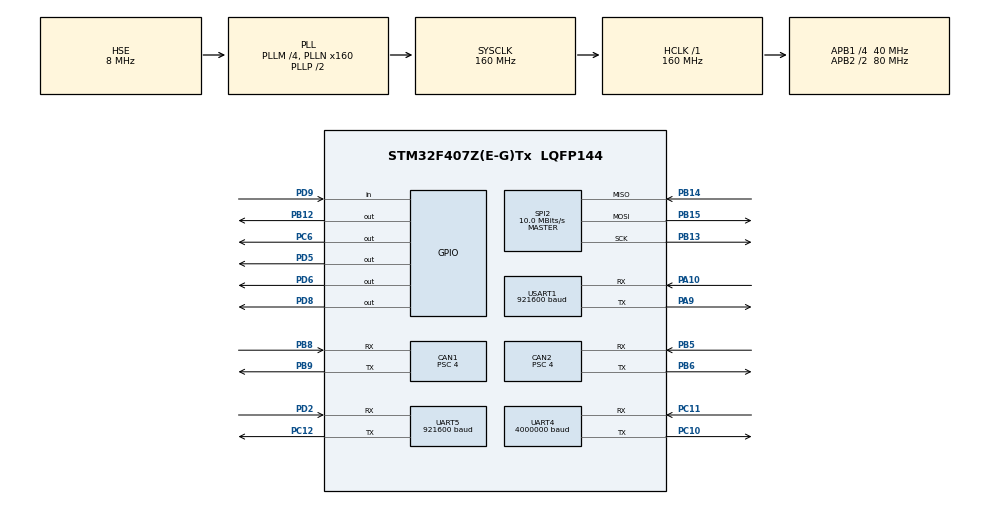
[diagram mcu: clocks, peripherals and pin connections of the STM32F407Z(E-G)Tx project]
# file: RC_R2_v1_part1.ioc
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CAN1.ABOM=ENABLE
CAN1.AWUM=ENABLE
CAN1.BS1=CAN_BS1_6TQ
CAN1.BS2=CAN_BS2_3TQ
CAN1.CalculateBaudRate=1000000
CAN1.CalculateTimeBit=1000
CAN1.CalculateTimeQuantum=100.0
CAN1.NART=ENABLE
CAN1.Prescaler=4
CAN1.TXFP=ENABLE
CAN2.ABOM=ENABLE
CAN2.AWUM=ENABLE
CAN2.BS1=CAN_BS1_6TQ
CAN2.BS2=CAN_BS2_3TQ
CAN2.CalculateBaudRate=1000000
CAN2.CalculateTimeBit=1000
CAN2.CalculateTimeQuantum=100.0
CAN2.NART=ENABLE
CAN2.Prescaler=4
CAN2.TXFP=ENABLE
Dma.Request0=USART1_RX
Dma.Request1=USART1_TX
Dma.Request2=UART4_RX
Dma.Request3=UART4_TX
Dma.Request4=UART5_RX
Dma.Request5=UART5_TX
Dma.UART4_RX.2.Direction=DMA_PERIPH_TO_MEMORY
Dma.UART4_RX.2.FIFOMode=DMA_FIFOMODE_DISABLE
Dma.UART4_RX.2.Instance=DMA1_Stream2
Dma.UART4_RX.2.MemDataAlignment=DMA_MDATAALIGN_BYTE
Dma.UART4_RX.2.MemInc=DMA_MINC_ENABLE
Dma.UART4_RX.2.Mode=DMA_NORMAL
Dma.UART4_RX.2.PeriphDataAlignment=DMA_PDATAALIGN_BYTE
Dma.UART4_RX.2.PeriphInc=DMA_PINC_DISABLE
Dma.UART4_RX.2.Priority=DMA_PRIORITY_LOW
Dma.UART4_TX.3.Direction=DMA_MEMORY_TO_PERIPH
Dma.UART4_TX.3.FIFOMode=DMA_FIFOMODE_DISABLE
Dma.UART4_TX.3.Instance=DMA1_Stream4
Dma.UART4_TX.3.MemDataAlignment=DMA_MDATAALIGN_BYTE
Dma.UART4_TX.3.MemInc=DMA_MINC_ENABLE
Dma.UART4_TX.3.Mode=DMA_NORMAL
Dma.UART4_TX.3.PeriphDataAlignment=DMA_PDATAALIGN_BYTE
Dma.UART4_TX.3.PeriphInc=DMA_PINC_DISABLE
Dma.UART4_TX.3.Priority=DMA_PRIORITY_LOW
Dma.UART5_RX.4.Direction=DMA_PERIPH_TO_MEMORY
Dma.UART5_RX.4.FIFOMode=DMA_FIFOMODE_DISABLE
Dma.UART5_RX.4.Instance=DMA1_Stream0
Dma.UART5_RX.4.MemDataAlignment=DMA_MDATAALIGN_BYTE
Dma.UART5_RX.4.MemInc=DMA_MINC_ENABLE
Dma.UART5_RX.4.Mode=DMA_NORMAL
Dma.UART5_RX.4.PeriphDataAlignment=DMA_PDATAALIGN_BYTE
Dma.UART5_RX.4.PeriphInc=DMA_PINC_DISABLE
Dma.UART5_RX.4.Priority=DMA_PRIORITY_LOW
Dma.UART5_TX.5.Direction=DMA_MEMORY_TO_PERIPH
Dma.UART5_TX.5.FIFOMode=DMA_FIFOMODE_DISABLE
Dma.UART5_TX.5.Instance=DMA1_Stream7
Dma.UART5_TX.5.MemDataAlignment=DMA_MDATAALIGN_BYTE
Dma.UART5_TX.5.MemInc=DMA_MINC_ENABLE
Dma.UART5_TX.5.Mode=DMA_NORMAL
Dma.UART5_TX.5.PeriphDataAlignment=DMA_PDATAALIGN_BYTE
Dma.UART5_TX.5.PeriphInc=DMA_PINC_DISABLE
Dma.UART5_TX.5.Priority=DMA_PRIORITY_LOW
Dma.USART1_RX.0.Direction=DMA_PERIPH_TO_MEMORY
Dma.USART1_RX.0.FIFOMode=DMA_FIFOMODE_DISABLE
Dma.USART1_RX.0.Instance=DMA2_Stream2
Dma.USART1_RX.0.MemDataAlignment=DMA_MDATAALIGN_BYTE
Dma.USART1_RX.0.MemInc=DMA_MINC_ENABLE
Dma.USART1_RX.0.Mode=DMA_NORMAL
Dma.USART1_RX.0.PeriphDataAlignment=DMA_PDATAALIGN_BYTE
Dma.USART1_RX.0.PeriphInc=DMA_PINC_DISABLE
Dma.USART1_RX.0.Priority=DMA_PRIORITY_LOW
Dma.USART1_TX.1.Direction=DMA_MEMORY_TO_PERIPH
Dma.USART1_TX.1.FIFOMode=DMA_FIFOMODE_DISABLE
Dma.USART1_TX.1.Instance=DMA2_Stream7
Dma.USART1_TX.1.MemDataAlignment=DMA_MDATAALIGN_BYTE
Dma.USART1_TX.1.MemInc=DMA_MINC_ENABLE
Dma.USART1_TX.1.Mode=DMA_NORMAL
Dma.USART1_TX.1.PeriphDataAlignment=DMA_PDATAALIGN_BYTE
Dma.USART1_TX.1.PeriphInc=DMA_PINC_DISABLE
Dma.USART1_TX.1.Priority=DMA_PRIORITY_LOW
FREERTOS.Tasks01=Task1,24,1024,TASK1,Default,NULL,Dynamic,NULL,NULL;Task2,24,1024,TASK2,Default,NULL,Dynamic,NULL,NULL;Task3,24,256,TASK3,Default,NULL,Dynamic,NULL,NULL;Task4,24,256,TASK4,Default,NULL,Dynamic,NULL,NULL;Task5,24,256,TASK5,Default,NULL,Dynamic,NULL,NULL;Task6,24,256,TASK6,Default,NULL,Dynamic,NULL,NULL
Mcu.Family=STM32F4
Mcu.Name=STM32F407Z(E-G)Tx
Mcu.Package=LQFP144
NVIC.CAN1_RX0_IRQn=true\:5\:0\:false\:false\:true\:true\:true\:true\:true
NVIC.CAN2_RX0_IRQn=true\:5\:0\:false\:false\:true\:true\:true\:true\:true
NVIC.DMA1_Stream0_IRQn=true\:5\:0\:false\:false\:true\:true\:false\:true\:true
NVIC.DMA1_Stream2_IRQn=true\:5\:0\:false\:false\:true\:true\:false\:true\:true
NVIC.DMA1_Stream4_IRQn=true\:5\:0\:false\:false\:true\:true\:false\:true\:true
NVIC.DMA1_Stream7_IRQn=true\:5\:0\:false\:false\:true\:true\:false\:true\:true
NVIC.DMA2_Stream2_IRQn=true\:5\:0\:false\:false\:true\:true\:false\:true\:true
NVIC.DMA2_Stream7_IRQn=true\:5\:0\:false\:false\:true\:true\:false\:true\:true
NVIC.PriorityGroup=NVIC_PRIORITYGROUP_4
NVIC.SPI2_IRQn=true\:5\:0\:false\:false\:true\:true\:true\:true\:true
NVIC.TIM2_IRQn=true\:5\:0\:false\:false\:true\:true\:true\:true\:true
NVIC.TIM6_DAC_IRQn=true\:15\:0\:false\:false\:true\:false\:false\:true\:true
NVIC.TimeBase=TIM6_DAC_IRQn
NVIC.TimeBaseIP=TIM6
NVIC.UART4_IRQn=true\:5\:0\:false\:false\:true\:true\:true\:true\:true
NVIC.UART5_IRQn=true\:5\:0\:false\:false\:true\:true\:true\:true\:true
NVIC.USART1_IRQn=true\:5\:0\:false\:false\:true\:true\:true\:true\:true
PA10.GPIO_PuPd=GPIO_PULLUP
PA10.Mode=Asynchronous
PA10.Signal=USART1_RX
PA13.Mode=Serial_Wire
PA13.Signal=SYS_JTMS-SWDIO
PA14.Mode=Serial_Wire
PA14.Signal=SYS_JTCK-SWCLK
PA9.GPIO_PuPd=GPIO_PULLUP
PA9.Mode=Asynchronous
PA9.Signal=USART1_TX
PB12.GPIO_Speed=GPIO_SPEED_FREQ_VERY_HIGH
PB12.PinState=GPIO_PIN_SET
PB12.Signal=GPIO_Output
PB13.Mode=Full_Duplex_Master
PB13.Signal=SPI2_SCK
PB14.Mode=Full_Duplex_Master
PB14.Signal=SPI2_MISO
PB15.Mode=Full_Duplex_Master
PB15.Signal=SPI2_MOSI
PB5.GPIO_PuPd=GPIO_PULLUP
PB5.Mode=CAN_Activate
PB5.Signal=CAN2_RX
PB6.GPIO_PuPd=GPIO_PULLUP
PB6.Mode=CAN_Activate
PB6.Signal=CAN2_TX
PB8.GPIO_PuPd=GPIO_PULLUP
PB8.Mode=CAN_Activate
PB8.Signal=CAN1_RX
PB9.GPIO_PuPd=GPIO_PULLUP
PB9.Mode=CAN_Activate
PB9.Signal=CAN1_TX
PC10.GPIO_PuPd=GPIO_PULLUP
PC10.Mode=Asynchronous
PC10.Signal=UART4_TX
PC11.GPIO_PuPd=GPIO_PULLUP
PC11.Mode=Asynchronous
PC11.Signal=UART4_RX
PC12.GPIO_PuPd=GPIO_PULLUP
PC12.Mode=Asynchronous
PC12.Signal=UART5_TX
PC14-OSC32_IN.Mode=LSE-External-Oscillator
PC14-OSC32_IN.Signal=RCC_OSC32_IN
PC15-OSC32_OUT.Mode=LSE-External-Oscillator
PC15-OSC32_OUT.Signal=RCC_OSC32_OUT
PC6.GPIO_Speed=GPIO_SPEED_FREQ_LOW
PC6.Signal=GPIO_Output
PD2.GPIO_PuPd=GPIO_PULLUP
PD2.Mode=Asynchronous
PD2.Signal=UART5_RX
PD5.GPIO_PuPd=GPIO_NOPULL
PD5.GPIO_Speed=GPIO_SPEED_FREQ_VERY_HIGH
PD5.PinState=GPIO_PIN_RESET
PD5.Signal=GPIO_Output
PD6.GPIO_Speed=GPIO_SPEED_FREQ_VERY_HIGH
PD6.Signal=GPIO_Output
PD8.GPIO_Speed=GPIO_SPEED_FREQ_VERY_HIGH
PD8.Signal=GPIO_Output
PD9.GPIO_PuPd=GPIO_PULLUP
PD9.Signal=GPIO_Input
PH0-OSC_IN.Mode=HSE-External-Oscillator
PH0-OSC_IN.Signal=RCC_OSC_IN
PH1-OSC_OUT.Mode=HSE-External-Oscillator
PH1-OSC_OUT.Signal=RCC_OSC_OUT
ProjectManager.HeapSize=0x200
ProjectManager.StackSize=0x400
ProjectManager.TargetToolchain=MDK-ARM V5.32
RCC.48MHZClocksFreq_Value=80000000
RCC.AHBFreq_Value=160000000
RCC.APB1CLKDivider=RCC_HCLK_DIV4
RCC.APB1Freq_Value=40000000
RCC.APB1TimFreq_Value=80000000
RCC.APB2CLKDivider=RCC_HCLK_DIV2
RCC.APB2Freq_Value=80000000
RCC.APB2TimFreq_Value=160000000
RCC.CortexFreq_Value=160000000
RCC.HCLKFreq_Value=160000000
RCC.HSE_VALUE=8000000
RCC.HSI_VALUE=16000000
RCC.PLLM=4
RCC.PLLN=160
RCC.PLLSourceVirtual=RCC_PLLSOURCE_HSE
RCC.SYSCLKFreq_VALUE=160000000
RCC.SYSCLKSource=RCC_SYSCLKSOURCE_PLLCLK
RCC.VCOOutputFreq_Value=320000000
SPI2.BaudRatePrescaler=SPI_BAUDRATEPRESCALER_4
SPI2.CalculateBaudRate=10.0 MBits/s
SPI2.Direction=SPI_DIRECTION_2LINES
SPI2.Mode=SPI_MODE_MASTER
SPI2.VirtualType=VM_MASTER
TIM2.AutoReloadPreload=TIM_AUTORELOAD_PRELOAD_ENABLE
TIM2.Period=999
TIM2.Prescaler=79
UART4.BaudRate=4000000
UART4.OverSampling=UART_OVERSAMPLING_8
UART4.VirtualMode=Asynchronous
UART5.BaudRate=921600
UART5.VirtualMode=Asynchronous
USART1.BaudRate=921600
USART1.VirtualMode=VM_ASYNC
VP_FREERTOS_VS_CMSIS_V2.Mode=CMSIS_V2
VP_SYS_VS_tim6.Mode=TIM6
VP_TIM2_VS_ClockSourceINT.Mode=Internal
board=custom

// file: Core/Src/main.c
/* USER CODE BEGIN Header */
/**
 ******************************************************************************
 * @file           : main.c
 * @brief          : Main program body
 ******************************************************************************
 * @attention
 *
 * Copyright (c) 2025 STMicroelectronics.
 * All rights reserved.
 *
 * This software is licensed under terms that can be found in the LICENSE file
 * in the root directory of this software component.
 * If no LICENSE file comes with this software, it is provided AS-IS.
 *
 ******************************************************************************
 */
/* USER CODE END Header */
#include "main.h"
#include "cmsis_os.h"
#include "can.h"
#include "dma.h"
#include "spi.h"
#include "tim.h"
#include "usart.h"
#include "gpio.h"

/* USER CODE BEGIN Includes */
#include "can_bsp.h"
#include "global_declare.h"
#include "algorithm.h"
#include "auto_path.h"
/* USER CODE END Includes */

void SystemClock_Config(void);
void MX_FREERTOS_Init(void);

int main(void)
{

  /* MCU Configuration--------------------------------------------------------*/

  /* Reset of all peripherals, Initializes the Flash interface and the Systick. */
  HAL_Init();

  /* Configure the system clock */
  SystemClock_Config();

  /* Initialize all configured peripherals */
  MX_GPIO_Init();
  MX_DMA_Init();
  MX_SPI2_Init();
  MX_USART1_UART_Init();
  MX_CAN1_Init();
  MX_CAN2_Init();
  MX_TIM2_Init();
  MX_UART4_Init();
  MX_UART5_Init();
  /* USER CODE BEGIN 2 */
  // __HAL_UART_ENABLE_IT(&huart1, UART_IT_IDLE);
  // HAL_UART_Receive_DMA(&huart1, down_rx, 17);
  __HAL_UART_ENABLE_IT(&huart5, UART_IT_IDLE);
  HAL_UART_Receive_DMA(&huart5, vision_rec, 34);
  HAL_UART_Receive_DMA(&huart4, (uint8_t *)&uart_rx_data, sizeof(RIS_MotorData_t));

  HAL_TIM_Base_Start_IT(&htim2);

  can1_start();
  can2_start();

  J60_MOTOR_ENABLE(&hcan1, &j60_motor_cmd_down1);
  J60_MOTOR_ENABLE(&hcan2, &j60_motor_cmd_down2);

  // SET_NAV_PATH_PERMUTATION();
  /* USER CODE END 2 */

  /* Init scheduler */
  osKernelInitialize();  /* Call init function for freertos objects (in cmsis_os2.c) */
  MX_FREERTOS_Init();

  /* Start scheduler */
  osKernelStart();

  /* We should never get here as control is now taken by the scheduler */

  /* Infinite loop */
  while (1)
  {

  }
}

void SystemClock_Config(void)
{
  RCC_OscInitTypeDef RCC_OscInitStruct = {0};
  RCC_ClkInitTypeDef RCC_ClkInitStruct = {0};

  /** Configure the main internal regulator output voltage
  */
  __HAL_RCC_PWR_CLK_ENABLE();
  __HAL_PWR_VOLTAGESCALING_CONFIG(PWR_REGULATOR_VOLTAGE_SCALE1);

  /** Initializes the RCC Oscillators according to the specified parameters
  * in the RCC_OscInitTypeDef structure.
  */
  RCC_OscInitStruct.OscillatorType = RCC_OSCILLATORTYPE_HSE;
  RCC_OscInitStruct.HSEState = RCC_HSE_ON;
  RCC_OscInitStruct.PLL.PLLState = RCC_PLL_ON;
  RCC_OscInitStruct.PLL.PLLSource = RCC_PLLSOURCE_HSE;
  RCC_OscInitStruct.PLL.PLLM = 4;
  RCC_OscInitStruct.PLL.PLLN = 160;
  RCC_OscInitStruct.PLL.PLLP = RCC_PLLP_DIV2;
  RCC_OscInitStruct.PLL.PLLQ = 4;
  if (HAL_RCC_OscConfig(&RCC_OscInitStruct) != HAL_OK)
  {
    Error_Handler();
  }

  /** Initializes the CPU, AHB and APB buses clocks
  */
  RCC_ClkInitStruct.ClockType = RCC_CLOCKTYPE_HCLK|RCC_CLOCKTYPE_SYSCLK
                              |RCC_CLOCKTYPE_PCLK1|RCC_CLOCKTYPE_PCLK2;
  RCC_ClkInitStruct.SYSCLKSource = RCC_SYSCLKSOURCE_PLLCLK;
  RCC_ClkInitStruct.AHBCLKDivider = RCC_SYSCLK_DIV1;
  RCC_ClkInitStruct.APB1CLKDivider = RCC_HCLK_DIV4;
  RCC_ClkInitStruct.APB2CLKDivider = RCC_HCLK_DIV2;

  if (HAL_RCC_ClockConfig(&RCC_ClkInitStruct, FLASH_LATENCY_5) != HAL_OK)
  {
    Error_Handler();
  }
}

void HAL_TIM_PeriodElapsedCallback(TIM_HandleTypeDef *htim)
{
  if (htim->Instance == TIM6)
  {
    HAL_IncTick();
  }
}

void Error_Handler(void)
{
  __disable_irq();
  while (1)
  {
  }
}

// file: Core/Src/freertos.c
/* USER CODE BEGIN Header */
/**
 ******************************************************************************
 * File Name          : freertos.c
 * Description        : Code for freertos applications
 ******************************************************************************
 * @attention
 *
 * Copyright (c) 2025 STMicroelectronics.
 * All rights reserved.
 *
 * This software is licensed under terms that can be found in the LICENSE file
 * in the root directory of this software component.
 * If no LICENSE file comes with this software, it is provided AS-IS.
 *
 ******************************************************************************
 */
/* USER CODE END Header */

#include "FreeRTOS.h"
#include "task.h"
#include "main.h"
#include "cmsis_os.h"

/* USER CODE BEGIN Includes */
#include "global_declare.h"
#include "motor_dji_sdk.h"
#include "j60_sdk.h"
#include "go1_sdk.h"
#include "NRF24L01.h"
#include "navigate.h"
#include "chassis.h"
#include "foot.h"
#include "action.h"
/* USER CODE END Includes */

/* USER CODE BEGIN Variables */
extern UART_HandleTypeDef huart1, huart4;
float n=0, input=0;;

/* USER CODE END Variables */
/* Definitions for Task1 */
osThreadId_t Task1Handle;
const osThreadAttr_t Task1_attributes = {
    .name = "Task1",
    .stack_size = 1024 * 4,
    .priority = (osPriority_t)osPriorityNormal,
};
/* Definitions for Task2 */
osThreadId_t Task2Handle;
const osThreadAttr_t Task2_attributes = {
    .name = "Task2",
    .stack_size = 1024 * 4,
    .priority = (osPriority_t)osPriorityNormal,
};
/* Definitions for Task3 */
osThreadId_t Task3Handle;
const osThreadAttr_t Task3_attributes = {
    .name = "Task3",
    .stack_size = 256 * 4,
    .priority = (osPriority_t)osPriorityNormal,
};
/* Definitions for Task4 */
osThreadId_t Task4Handle;
const osThreadAttr_t Task4_attributes = {
    .name = "Task4",
    .stack_size = 256 * 4,
    .priority = (osPriority_t)osPriorityNormal,
};
/* Definitions for Task5 */
osThreadId_t Task5Handle;
const osThreadAttr_t Task5_attributes = {
    .name = "Task5",
    .stack_size = 256 * 4,
    .priority = (osPriority_t)osPriorityNormal,
};
/* Definitions for Task6 */
osThreadId_t Task6Handle;
const osThreadAttr_t Task6_attributes = {
    .name = "Task6",
    .stack_size = 256 * 4,
    .priority = (osPriority_t)osPriorityNormal,
};

void TASK1(void *argument);
void TASK2(void *argument);
void TASK3(void *argument);
void TASK4(void *argument);
void TASK5(void *argument);
void TASK6(void *argument);

void MX_FREERTOS_Init(void); /* (MISRA C 2004 rule 8.1) */

void MX_FREERTOS_Init(void)
{

  /* Create the thread(s) */
  /* creation of Task1 */
  Task1Handle = osThreadNew(TASK1, NULL, &Task1_attributes);

  /* creation of Task2 */
  Task2Handle = osThreadNew(TASK2, NULL, &Task2_attributes);

  /* creation of Task3 */
  Task3Handle = osThreadNew(TASK3, NULL, &Task3_attributes);

  /* creation of Task4 */
  Task4Handle = osThreadNew(TASK4, NULL, &Task4_attributes);

  /* creation of Task5 */
  Task5Handle = osThreadNew(TASK5, NULL, &Task5_attributes);

  /* creation of Task6 */
  Task6Handle = osThreadNew(TASK6, NULL, &Task6_attributes);

}

void TASK1(void *argument)
{
  /* USER CODE BEGIN TASK1 */

  /* Infinite loop */
  for (;;)
  {
    monitor.rate_cnt.task1++;

    Foot_WorkLoop();

    HAL_GPIO_WritePin(GPIOC, GPIO_PIN_6, 1);
    GO1_Tx(&go1_send_left, &huart4, foot.leftup_aim_angle, 0, foot_g_feedforward.leftup, go1_send_left.K_P, go1_send_left.K_W);

    osDelay(pdMS_TO_TICKS(1));

    HAL_GPIO_WritePin(GPIOC, GPIO_PIN_6, 1);
    GO1_Tx(&go1_send_right, &huart4, foot.rightup_aim_angle, 0, foot_g_feedforward.rightup, go1_send_right.K_P, go1_send_right.K_W);

    osDelay(pdMS_TO_TICKS(1));
  }
  /* USER CODE END TASK1 */
}

void TASK2(void *argument)
{
  /* USER CODE BEGIN TASK2 */
  /* Infinite loop */
  for (;;)
  {
    monitor.rate_cnt.task2++;

    if (foot.foot_state != 255)
    {
      Cascade_PID_TD_Calc(&j60_pid, foot.down_aim_angle, j60_motor_data_down2.position_);
      J60_LOOP_CONTROL(&hcan1, &j60_motor_cmd_down1, 0, 0, -j60_pid.final_fpU - foot_g_feedforward.down, 0, 0, &j60_motor_data_down1);
      J60_LOOP_CONTROL(&hcan2, &j60_motor_cmd_down2, foot.down_aim_angle, 0, foot_g_feedforward.down, j60_motor_cmd_down2.kp_, j60_motor_cmd_down2.kd_, &j60_motor_data_down2);
    }

    osDelay(pdMS_TO_TICKS(2)); // 降低帧率，防止CAN总线过载
  }
  /* USER CODE END TASK2 */
}

void TASK3(void *argument)
{
  /* USER CODE BEGIN TASK3 */
  /* Infinite loop */
  for (;;)
  {
    monitor.rate_cnt.task3++;

    Navigate_Task();

    osDelay(pdMS_TO_TICKS(1));
  }
  /* USER CODE END TASK3 */
}

void TASK4(void *argument)
{
  /* USER CODE BEGIN TASK4 */
  /* Infinite loop */
  for (;;)
  {
    monitor.rate_cnt.task4++;

    Drive_Chassis();

    osDelay(pdMS_TO_TICKS(1));
  }
  /* USER CODE END TASK4 */
}

void TASK5(void *argument)
{
  /* USER CODE BEGIN TASK5 */
  /* Infinite loop */
  for (;;)
  {
    monitor.rate_cnt.task5++;

    if (!NRF24L01_Check() && !FLAG_NRF)
    {
      NRF24L01_RX_Mode();
      FLAG_NRF = 1;
    }

    if (FLAG_NRF == 1)
    {
      nRF24L01_ack_pay.Ack_Channel = 0;
      nRF24L01_ack_pay.Ack_Status = 3;
      nRF24L01_ack_pay.Ack_Len = ACK_PLOAD_WIDTH;

      parseDataPacket(nRF24L01_RxBuf, &Js_Value);
      Deal_Key_State(&Js_Value);

      NRF24L01_RxPacket(nRF24L01_RxBuf);
      // Send_To_RemotrControl();
      NRF24L01_Rx_AckPayload(nRF24L01_ack_pay);

      time_cnt = tim_ms;
      if (time_cnt - time_cnt_pre >= 1000)
      {
        NRF24L01_RX_Mode();
        time_cnt_pre = time_cnt;
      }
    }

    osDelay(pdMS_TO_TICKS(3));
  }
  /* USER CODE END TASK5 */
}

void TASK6(void *argument)
{
  /* USER CODE BEGIN TASK6 */

  /* Infinite loop */
  for (;;)
  {
    monitor.rate_cnt.task6++;

    Main_Task();

    osDelay(pdMS_TO_TICKS(1));
  }
  /* USER CODE END TASK6 */
}
